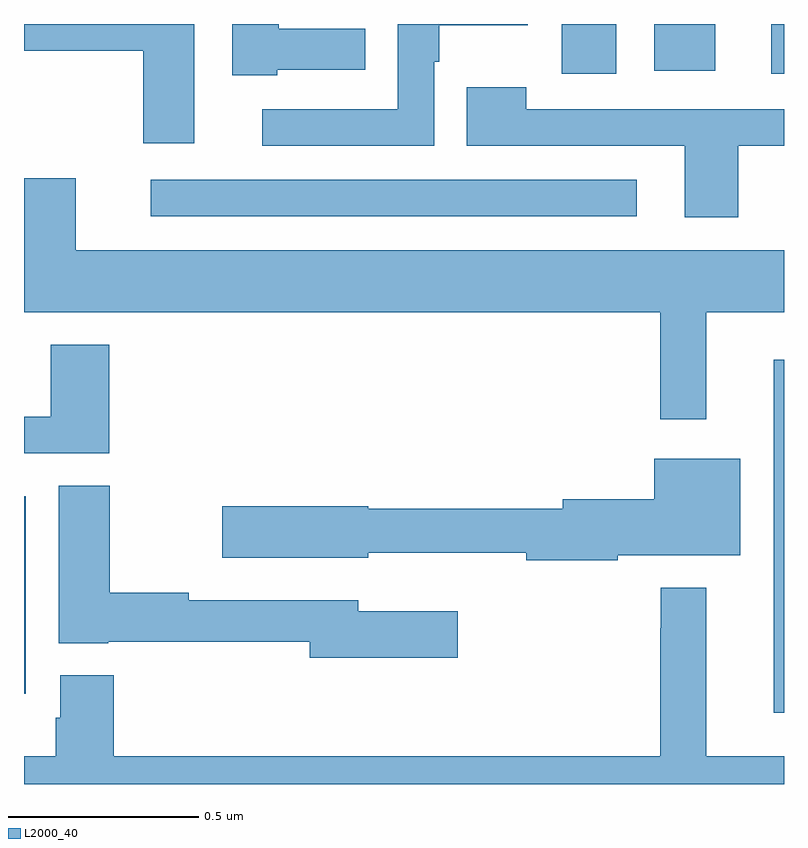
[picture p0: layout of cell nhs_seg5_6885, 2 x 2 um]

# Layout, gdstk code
import gdstk
lib = gdstk.Library(unit=1e-6, precision=1e-09)
def R(c, l, rs):  # rectangles x0, y0, x1, y1
    for r in rs: c.add(gdstk.rectangle(r[:2], r[2:], *l))
def P(c, l, *ps):  # polygons
    for p in ps: c.add(gdstk.Polygon(p, *l))
L2000_40 = (2000, 40)

nhs_seg5_6885 = lib.new_cell('nhs_seg5_6885')
R(nhs_seg5_6885, L2000_40, [(202.973,908.987,203,909.916), (201,909.036,201.004,909.556), (201.333,910.293,202.612,910.389), (202.415,910.668,202.558,910.799), (202.967,910.668,203,910.799), (202.658,910.676,202.819,910.799)])
P(nhs_seg5_6885, L2000_40, [(201.666,910.679),(201.898,910.679),(201.898,910.786),(201.67,910.786),(201.67,910.799),(201.548,910.799),(201.548,910.664),(201.666,910.664)],
  [(202.08,910.7),(202.093,910.7),(202.093,910.796),(202.326,910.796),(202.326,910.799),(201.984,910.799),(201.984,910.575),(201.627,910.575),(201.627,910.479),(202.08,910.479)],
  [(201.448,910.799),(201,910.799),(201,910.728),(201.314,910.728),(201.314,910.485),(201.448,910.485)],
  [(202.879,910.479),(203,910.479),(203,910.575),(202.322,910.575),(202.322,910.633),(202.165,910.633),(202.165,910.479),(202.739,910.479),(202.739,910.29),(202.879,910.29)],
  [(202.795,910.04),(203,910.04),(203,910.204),(201.136,910.204),(201.136,910.393),(201,910.393),(201,910.04),(202.674,910.04),(202.674,909.759),(202.795,909.759)],
  [(201.224,909.955),(201.071,909.955),(201.071,909.765),(201,909.765),(201,909.669),(201.224,909.669)],
  [(202.562,909.401),(202.885,909.401),(202.885,909.655),(202.658,909.655),(202.658,909.549),(202.418,909.549),(202.418,909.524),(201.906,909.524),(201.906,909.53),(201.522,909.53),(201.522,909.395),(201.906,909.395),(201.906,909.407),(202.322,909.407),(202.322,909.388),(202.562,909.388)],
  [(202.141,909.253),(201.88,909.253),(201.88,909.282),(201.434,909.282),(201.434,909.302),(201.226,909.302),(201.226,909.584),(201.092,909.584),(201.092,909.17),(201.222,909.17),(201.222,909.174),(201.752,909.174),(201.752,909.131),(202.141,909.131)],
  [(201.236,909.085),(201.095,909.085),(201.095,908.973),(201.083,908.973),(201.083,908.872),(201,908.872),(201,908.799),(203,908.799),(203,908.872),(202.795,908.872),(202.795,909.316),(202.675,909.316),(202.675,909.209),(202.674,909.209),(202.674,908.872),(201.236,908.872)])

lib.write_gds('nhs_seg5_6885.gds')
